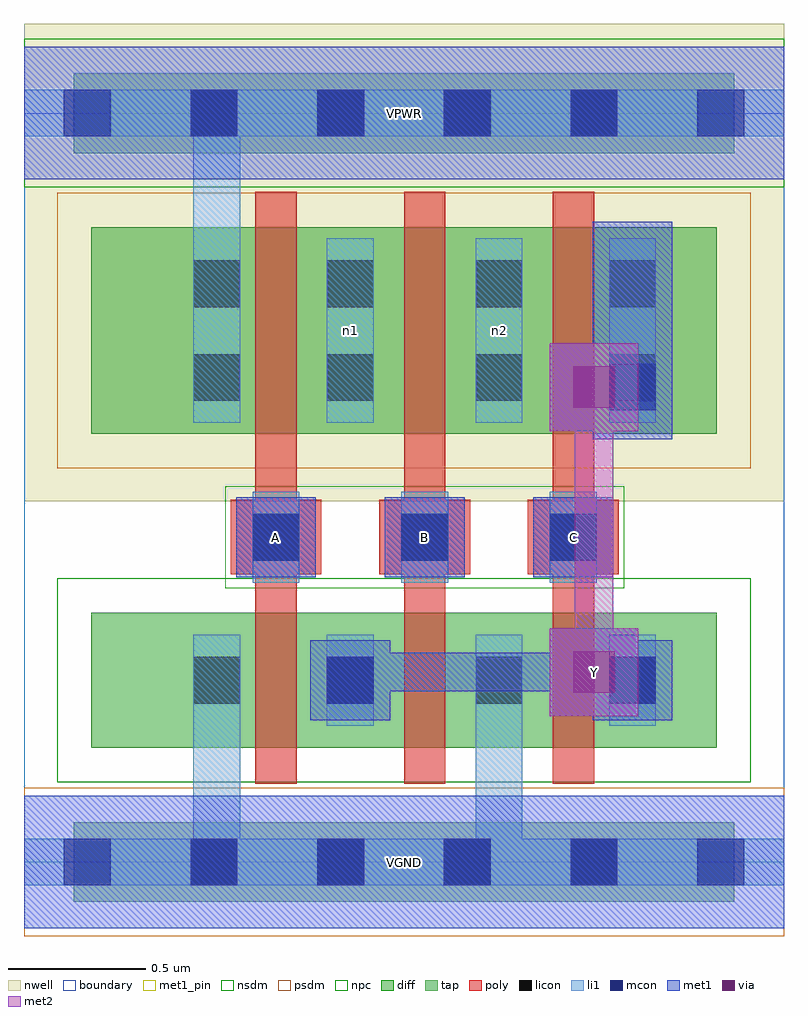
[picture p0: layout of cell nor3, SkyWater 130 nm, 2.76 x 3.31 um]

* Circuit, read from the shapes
.subckt nor3 A B C VGND VPWR Y n1 n2
XM1 Y A VGND VGND sky130_fd_pr__nfet_01v8 w=0.49 l=0.15
XM2 VGND B Y VGND sky130_fd_pr__nfet_01v8 w=0.49 l=0.15
XM3 Y C VGND VGND sky130_fd_pr__nfet_01v8 w=0.49 l=0.15
XM4 n1 A VPWR VPWR sky130_fd_pr__pfet_01v8 w=0.75 l=0.15
XM5 n2 B n1 VPWR sky130_fd_pr__pfet_01v8 w=0.75 l=0.15
XM6 Y C n2 VPWR sky130_fd_pr__pfet_01v8 w=0.75 l=0.15
.ends

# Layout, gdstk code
import gdstk
lib = gdstk.Library(unit=1e-6, precision=1e-09)
def R(c, l, rs):  # rectangles x0, y0, x1, y1
    for r in rs: c.add(gdstk.rectangle(r[:2], r[2:], *l))
def A(c, l, x, y, w, h, nx, ny, dx, dy):  # array of equal rectangles
    R(c, l, [(x+i*dx, y+j*dy, x+i*dx+w, y+j*dy+h) for i in range(nx) for j in range(ny)])
nwell = (64, 20)
diff = (65, 20)
tap = (65, 44)
poly = (66, 20)
licon = (66, 44)
li1 = (67, 20)
mcon = (67, 44)
met1_pin = (68, 16)
met1 = (68, 20)
via = (68, 44)
met2 = (69, 20)
nsdm = (93, 44)
psdm = (94, 20)
npc = (95, 20)
boundary = (235, 4)

nor3 = lib.new_cell('nor3')
R(nor3, nwell, [(0,1.31,2.76,3.045)])
R(nor3, diff, [(0.245,0.415,2.515,0.905), (0.245,1.555,2.515,2.305)])
R(nor3, tap, [(0.18,-0.145,2.58,0.145), (0.18,2.575,2.58,2.865)])
A(nor3, poly, 0.84, 0.285, 0.15, 2.15, 3, 1, 0.54, 0)
A(nor3, poly, 0.75, 1.045, 0.33, 0.27, 3, 1, 0.54, 0)
A(nor3, licon, 0.605, -0.085, 0.17, 0.17, 4, 2, 0.46, 2.72)
A(nor3, licon, 0.83, 1.095, 0.17, 0.17, 3, 1, 0.54, 0)
R(nor3, licon, [(0.615,0.575,0.785,0.745), (1.1,0.575,1.27,0.745), (1.64,0.575,1.81,0.745), (2.125,0.575,2.295,0.745), (0.615,1.675,0.785,1.845), (1.1,1.675,1.27,1.845), (1.64,1.675,1.81,1.845), (2.125,1.675,2.295,1.845), (0.615,2.015,0.785,2.185), (1.1,2.015,1.27,2.185), (1.64,2.015,1.81,2.185), (2.125,2.015,2.295,2.185)])
A(nor3, li1, 0.83, 1.015, 0.17, 0.33, 3, 1, 0.54, 0)
R(nor3, li1, [(0,-0.085,2.76,0.085), (0.615,-0.085,0.785,0.825), (1.64,-0.085,1.81,0.825), (0.615,0.495,0.785,0.825), (1.1,0.495,1.27,0.825), (1.64,0.495,1.81,0.825), (2.125,0.495,2.295,0.825), (0.615,1.595,0.785,2.265), (0.615,1.595,0.785,2.805), (1.1,1.595,1.27,2.265), (1.64,1.595,1.81,2.265), (2.125,1.595,2.295,2.265), (0,2.635,2.76,2.805)])
A(nor3, mcon, 0.145, -0.085, 0.17, 0.17, 6, 2, 0.46, 2.72)
A(nor3, mcon, 0.83, 1.095, 0.17, 0.17, 3, 1, 0.54, 0)
R(nor3, mcon, [(1.1,0.575,1.27,0.745), (2.125,0.575,2.295,0.745), (2.125,1.64,2.295,1.81)])
A(nor3, met1_pin, 0.77, 1.035, 0.29, 0.29, 3, 1, 0.54, 0)
R(nor3, met1_pin, [(0,-0.24,2.76,0.24), (1.91,0.53,2.23,0.85), (0,2.48,2.76,2.96)])
A(nor3, met1, 0.77, 1.035, 0.29, 0.29, 3, 1, 0.54, 0)
R(nor3, met1, [(0,-0.24,2.76,0.24), (1.04,0.515,1.33,0.805), (2.065,0.515,2.355,0.805), (1.91,0.53,2.23,0.85), (1.08,0.62,1.22,0.76), (1.08,0.62,2.255,0.76), (2.115,0.62,2.255,0.76), (2.065,1.535,2.355,2.325), (1.91,1.565,2.23,1.885), (2.065,1.58,2.355,1.87), (2,1.655,2.28,1.795), (2,1.655,2.255,1.795), (2.115,1.655,2.255,1.795), (0,2.48,2.76,2.96)])
R(nor3, via, [(1.995,0.615,2.145,0.765), (1.995,1.65,2.145,1.8)])
R(nor3, met2, [(1.91,0.53,2.23,0.85), (2,0.62,2.14,1.795), (1.91,1.565,2.23,1.885)])
R(nor3, nsdm, [(0.12,0.29,2.64,1.03), (0,2.45,2.76,2.99)])
R(nor3, psdm, [(0,-0.27,2.76,0.27), (0.12,1.43,2.64,2.43)])
R(nor3, npc, [(0.73,0.995,2.18,1.365)])
R(nor3, boundary, [(0,0,2.76,2.72)])
nor3.add(gdstk.Label('n1', (1.185,1.93), layer=67, texttype=5))
nor3.add(gdstk.Label('n2', (1.725,1.93), layer=67, texttype=5))
nor3.add(gdstk.Label('A', (0.915,1.18), layer=68, texttype=5))
nor3.add(gdstk.Label('B', (1.455,1.18), layer=68, texttype=5))
nor3.add(gdstk.Label('C', (1.995,1.18), layer=68, texttype=5))
nor3.add(gdstk.Label('Y', (2.07,0.69), layer=68, texttype=5))
nor3.add(gdstk.Label('VPWR', (1.38,2.72), layer=68, texttype=5))
nor3.add(gdstk.Label('VGND', (1.38,0), layer=68, texttype=5))
nor3.add(gdstk.Label('A', (0.915,1.18), layer=68, texttype=16))
nor3.add(gdstk.Label('B', (1.455,1.18), layer=68, texttype=16))
nor3.add(gdstk.Label('C', (1.995,1.18), layer=68, texttype=16))
nor3.add(gdstk.Label('Y', (2.07,0.69), layer=68, texttype=16))
nor3.add(gdstk.Label('VPWR', (1.38,2.72), layer=68, texttype=16))
nor3.add(gdstk.Label('VGND', (1.38,0), layer=68, texttype=16))

lib.write_gds('nor3.gds')
